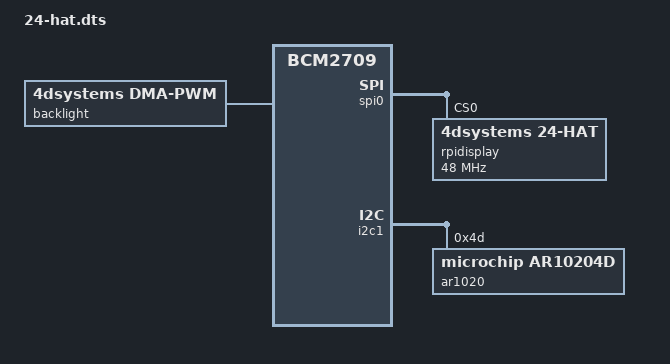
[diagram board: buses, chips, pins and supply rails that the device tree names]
/*
 * Device Tree overlay for 24-HAT by 4D Systems
 *
 */

/dts-v1/;
/plugin/;

/ {
	compatible = "brcm,bcm2835", "brcm,bcm2708", "brcm,bcm2709";

	fragment@0 {
		target = <&spi0>;
		__overlay__ {
                        compatible = "brcm,bcm2708-spi-dma";
			status = "okay";

			spidev@0{
				status = "disabled";
			};
		};
	};

        fragment@1 {
		target = <&spi0>;
		__overlay__ {
			/* needed to avoid dtc warning */
			#address-cells = <1>;
			#size-cells = <0>;

			rpidisplay: rpi-display@0{
                                compatible = "4dsystems,24-hat";
				reg = <0>;


                                spi-max-frequency = <48000000>;
                                /*
                                rotate = <0>;
                                rotate-codes = /bits/ 8 <0x03 0x05 0x00 0x06>;
                                */
                        };
		};
	};

        fragment@2 {
                target = <&i2c1>;
                __overlay__ {
                        #address-cells = <1>;
                        #size-cells = <0>;
                        status = "okay";

                        ar1020@4d {
                                compatible = "microchip,ar10204d";
                                reg = <0x4d>;
                                status = "okay";
                        };
                };
        };

        fragment@3 {
                target-path = "/soc";
                __overlay__ {
                        backlight {
                                compatible = "4dsystems,dma-pwm";

                                4d,pwmbl-gpio = /bits/ 16 <22>;
                                4d,pwmbl-type = /bits/ 16 <2>;
                                4d,pwmbl-brightness = /bits/ 16 <100>;
                                4d,pwmbl-title = "24-hat-pwm";
                        };
                };
        };


/*        __overrides__ {
                speed =   <&rpidisplay>,"spi-max-frequency:0";
                rotate =  <&rpidisplay>,"rotate:0";
        };
*/
};
